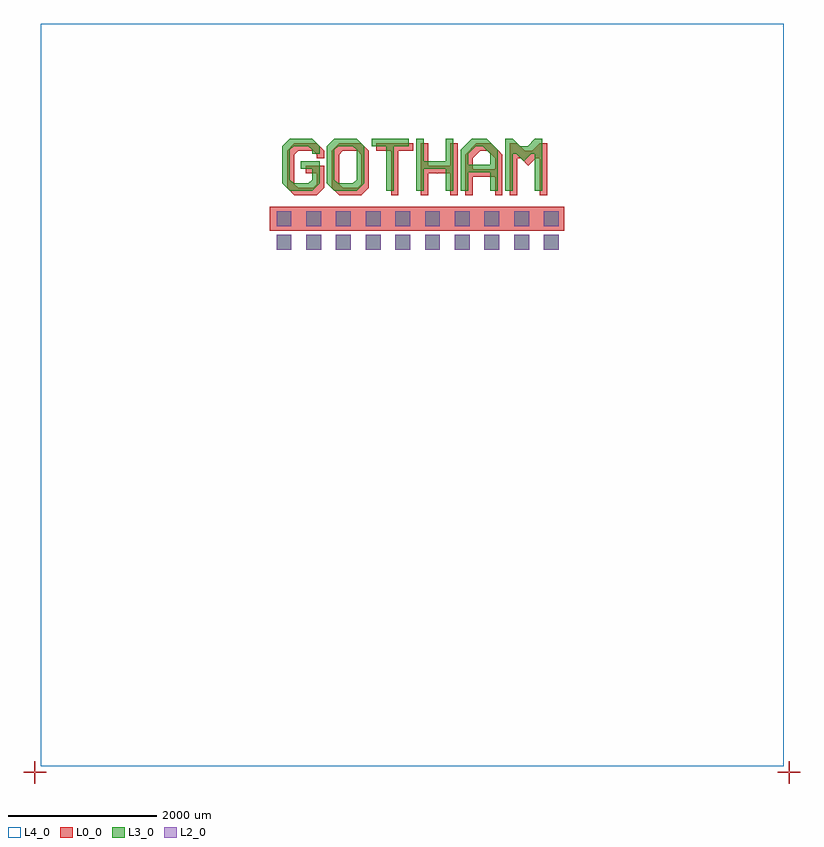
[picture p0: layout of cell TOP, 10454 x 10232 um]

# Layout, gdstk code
from math import pi, radians
import gdstk
lib = gdstk.Library(unit=1e-6, precision=1e-06)
def R(c, l, rs):  # rectangles x0, y0, x1, y1
    for r in rs: c.add(gdstk.rectangle(r[:2], r[2:], *l))
def A(c, l, x, y, w, h, nx, ny, dx, dy):  # array of equal rectangles
    R(c, l, [(x+i*dx, y+j*dy, x+i*dx+w, y+j*dy+h) for i in range(nx) for j in range(ny)])
def P(c, l, *ps):  # polygons
    for p in ps: c.add(gdstk.Polygon(p, *l))
L0_0 = (0, 0)
L2_0 = (2, 0)
L3_0 = (3, 0)
L4_0 = (4, 0)

text_10 = lib.new_cell('TEXT$10')
P(text_10, L0_0, [(1000,0),(0,1000),(0,6000),(1000,7000),(4000,7000),(5000,6000),(5000,5000),(4000,5000),(4000,5500),(3500,6000),(1500,6000),(1000,5500),(1000,1500),(1500,1000),(3500,1000),(4000,1500),(4000,3000),(2500,3000),(2500,4000),(5000,4000),(5000,1000),(4000,0)],
  [(7000,0),(6000,1000),(6000,6000),(7000,7000),(10000,7000),(11000,6000),(11000,3500),(10000,3500),(10000,5500),(9500,6000),(7500,6000),(7000,5500),(7000,1500),(7500,1000),(9500,1000),(10000,1500),(10000,3500),(11000,3500),(11000,1000),(10000,0)],
  [(14000,0),(14000,6000),(12000,6000),(12000,7000),(17000,7000),(17000,6000),(15000,6000),(15000,0)],
  [(18000,0),(18000,7000),(19000,7000),(19000,4000),(22000,4000),(22000,7000),(23000,7000),(23000,0),(22000,0),(22000,3000),(19000,3000),(19000,0)],
  [(24000,0),(24000,5500),(25500,7000),(27500,7000),(28500,6000),(26000,6000),(25000,5000),(25000,3500),(28000,3500),(28000,5000),(27000,6000),(28500,6000),(29000,5500),(29000,0),(28000,0),(28000,2500),(25000,2500),(25000,0)],
  [(30000,0),(30000,7000),(31000,7000),(32000,6000),(33000,6000),(34000,7000),(35000,7000),(35000,0),(34000,0),(34000,5000),(33500,5000),(32500,4000),(31500,5000),(31000,5000),(31000,0)])

cross2 = lib.new_cell('CROSS2')

cross = lib.new_cell('CROSS')

cross_all_layers = lib.new_cell('CROSS-ALL-LAYERS')
P(cross_all_layers, L0_0, [(5414,8059),(5414,8073),(5400,8073),(5400,8075),(5414,8075),(5414,8089),(5416,8089),(5416,8075),(5430,8075),(5430,8073),(5416,8073),(5416,8059)])

text_9 = lib.new_cell('TEXT$9')
P(text_9, L3_0, [(1000,0),(0,1000),(0,6000),(1000,7000),(4000,7000),(5000,6000),(5000,5000),(4000,5000),(4000,5500),(3500,6000),(1500,6000),(1000,5500),(1000,1500),(1500,1000),(3500,1000),(4000,1500),(4000,3000),(2500,3000),(2500,4000),(5000,4000),(5000,1000),(4000,0)],
  [(7000,0),(6000,1000),(6000,6000),(7000,7000),(10000,7000),(11000,6000),(11000,3500),(10000,3500),(10000,5500),(9500,6000),(7500,6000),(7000,5500),(7000,1500),(7500,1000),(9500,1000),(10000,1500),(10000,3500),(11000,3500),(11000,1000),(10000,0)],
  [(14000,0),(14000,6000),(12000,6000),(12000,7000),(17000,7000),(17000,6000),(15000,6000),(15000,0)],
  [(18000,0),(18000,7000),(19000,7000),(19000,4000),(22000,4000),(22000,7000),(23000,7000),(23000,0),(22000,0),(22000,3000),(19000,3000),(19000,0)],
  [(24000,0),(24000,5500),(25500,7000),(27500,7000),(28500,6000),(26000,6000),(25000,5000),(25000,3500),(28000,3500),(28000,5000),(27000,6000),(28500,6000),(29000,5500),(29000,0),(28000,0),(28000,2500),(25000,2500),(25000,0)],
  [(30000,0),(30000,7000),(31000,7000),(32000,6000),(33000,6000),(34000,7000),(35000,7000),(35000,0),(34000,0),(34000,5000),(33500,5000),(32500,4000),(31500,5000),(31000,5000),(31000,0)])

cross2_2 = lib.new_cell('CROSS2$2')

cross2_1 = lib.new_cell('CROSS2$1')
P(cross2_1, L0_0, [(-3469,-856),(-3469,-713),(-3612,-713),(-3612,-698),(-3469,-698),(-3469,-554),(-3454,-554),(-3454,-698),(-3312,-698),(-3312,-713),(-3454,-713),(-3454,-856)])

top = lib.new_cell('TOP')
R(top, L0_0, [(3161,7289,7130,7614)])
P(top, L0_0, [(10146,-151),(10146,-7),(10004,-7),(10004,8),(10146,8),(10146,151),(10161,151),(10161,8),(10304,8),(10304,-7),(10161,-7),(10161,-151)])
A(top, L2_0, 3253, 7034, 200, 200, 10, 2, 400, 320)
R(top, L2_0, [(3253,7034,3453,7234)])
A(top, L3_0, 3253, 7034, 200, 200, 10, 2, 400, 320)
R(top, L4_0, [(81,81,10081,10081), (81,81,10081,10081)])
top.add(gdstk.Reference(text_10, (3395,7767), magnification=0.1))
top.add(gdstk.Reference(cross2, (15958,50)))
top.add(gdstk.Reference(cross, (242,-2124)))
top.add(gdstk.Reference(cross_all_layers, (0,0)))
top.add(gdstk.Reference(text_9, (3332,7828), magnification=0.1))
top.add(gdstk.Reference(cross2, (5796,50)))
top.add(gdstk.Reference(cross2_2, (-36,4336), rotation=3*pi/2))
top.add(gdstk.Reference(cross2_1, (-3462,-705), rotation=pi))

lib.write_gds('TOP.gds')
